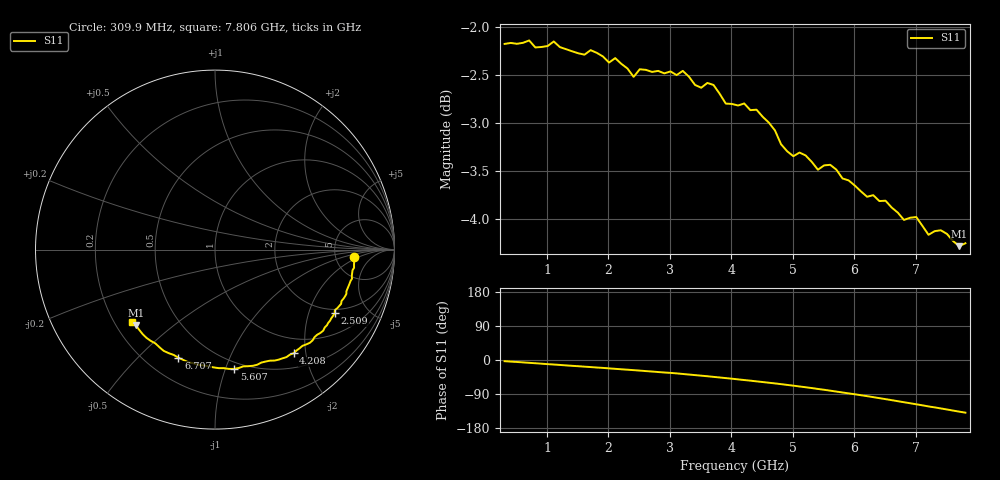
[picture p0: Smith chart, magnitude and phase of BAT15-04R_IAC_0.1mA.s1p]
! Infineon Technologies  Discrete & RF Semiconductors
! BAT15-04R
! IAC = 0.1 mA
! One-Port S-Parameters
# Hz  S  MA  R  50
!f  S11
!Hz  Mag  Ang
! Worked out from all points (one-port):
!   76 points, 309.9 MHz to 7.806 GHz, reference 50 ohm
!   lowest |S11| = -4.3 dB at 7.706 GHz (marker M1), VSWR 4.14, Z = 13.9 - j18.7 ohm
!   |S11| at or under -10 dB: nowhere
!   S11 on the Smith chart (normalised r, x): 309.9 MHz: 7.65, -1.66; 2.509 GHz: 1.82, -2.99; 4.208 GHz: 0.73, -1.78; 5.607 GHz: 0.44, -1.07; 6.707 GHz: 0.33, -0.66; 7.806 GHz: 0.27, -0.35
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3.0985e8  0.7781 -3.2
7.0965e8  0.7813 -7.4
8.096e8  0.7748 -8.6
1.10945e9  0.7804 -11.9
1.30935e9  0.7732 -14.2
1.70915e9  0.7723 -18.6
2.2089e9  0.7598 -24.5
2.4088e9  0.748 -26.7
2.50875e9  0.7549 -28.0
3.2084e9  0.7534 -36.8
3.70815e9  0.7408 -44.5
3.90805e9  0.7245 -47.8
4.10795e9  0.7228 -51.2
4.2079e9  0.7246 -52.9
4.6077e9  0.7083 -60.0
5.0075e9  0.6803 -67.7
5.10745e9  0.6833 -69.9
5.4073e9  0.6694 -76.4
5.6072e9  0.6733 -80.9
6.007e9  0.6568 -90.4
6.50675e9  0.645 -103.3
6.70665e9  0.6359 -108.7
6.90655e9  0.632 -114.1
7.0065e9  0.6325 -116.8
7.2064e9  0.6192 -122.5
7.4063e9  0.6226 -127.8
7.70615e9  0.6108 -136.3
7.8061e9  0.6129 -139.0
